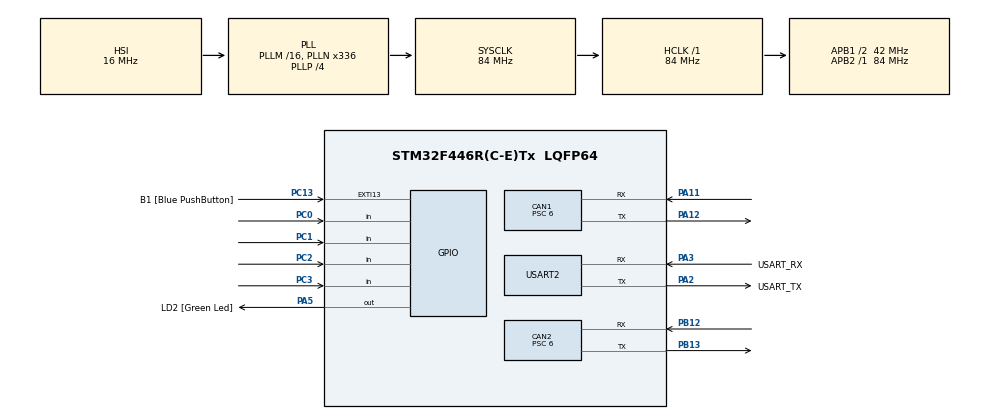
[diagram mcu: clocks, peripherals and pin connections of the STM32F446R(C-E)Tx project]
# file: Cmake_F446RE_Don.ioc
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CAN1.BS1=CAN_BS1_5TQ
CAN1.CalculateBaudRate=1000000
CAN1.CalculateTimeBit=1000
CAN1.CalculateTimeQuantum=142.85714285714286
CAN1.Prescaler=6
CAN2.BS1=CAN_BS1_5TQ
CAN2.CalculateBaudRate=1000000
CAN2.CalculateTimeBit=1000
CAN2.CalculateTimeQuantum=142.85714285714286
CAN2.Prescaler=6
Mcu.Family=STM32F4
Mcu.Name=STM32F446R(C-E)Tx
Mcu.Package=LQFP64
NVIC.CAN1_RX0_IRQn=true\:0\:0\:false\:false\:true\:true\:true\:true
NVIC.CAN2_RX0_IRQn=true\:0\:0\:false\:false\:true\:true\:true\:true
NVIC.PriorityGroup=NVIC_PRIORITYGROUP_0
PA11.Mode=CAN_Activate
PA11.Signal=CAN1_RX
PA12.Mode=CAN_Activate
PA12.Signal=CAN1_TX
PA13.GPIO_Label=TMS
PA13.Mode=Serial_Wire
PA13.Signal=SYS_JTMS-SWDIO
PA14.GPIO_Label=TCK
PA14.Mode=Serial_Wire
PA14.Signal=SYS_JTCK-SWCLK
PA2.GPIO_Label=USART_TX
PA2.Mode=Asynchronous
PA2.Signal=USART2_TX
PA3.GPIO_Label=USART_RX
PA3.Mode=Asynchronous
PA3.Signal=USART2_RX
PA5.GPIO_Label=LD2 [Green Led]
PA5.Signal=GPIO_Output
PB12.Mode=CAN_Activate
PB12.Signal=CAN2_RX
PB13.Mode=CAN_Activate
PB13.Signal=CAN2_TX
PB3.GPIO_Label=SWO
PB3.Signal=SYS_JTDO-SWO
PC0.GPIO_PuPd=GPIO_PULLUP
PC0.Signal=GPIO_Input
PC1.GPIO_PuPd=GPIO_PULLUP
PC1.Signal=GPIO_Input
PC13.GPIO_Label=B1 [Blue PushButton]
PC13.GPIO_ModeDefaultEXTI=GPIO_MODE_IT_FALLING
PC13.Signal=GPXTI13
PC14-OSC32_IN.Mode=LSE-External-Oscillator
PC14-OSC32_IN.Signal=RCC_OSC32_IN
PC15-OSC32_OUT.Mode=LSE-External-Oscillator
PC15-OSC32_OUT.Signal=RCC_OSC32_OUT
PC2.GPIO_PuPd=GPIO_PULLUP
PC2.Signal=GPIO_Input
PC3.GPIO_PuPd=GPIO_PULLUP
PC3.Signal=GPIO_Input
PH0-OSC_IN.Mode=HSE-External-Oscillator
PH0-OSC_IN.Signal=RCC_OSC_IN
PH1-OSC_OUT.Mode=HSE-External-Oscillator
PH1-OSC_OUT.Signal=RCC_OSC_OUT
ProjectManager.HeapSize=0x200
ProjectManager.StackSize=0x400
ProjectManager.TargetToolchain=CMake
RCC.48MHZClocksFreq_Value=84000000
RCC.AHBFreq_Value=84000000
RCC.APB1CLKDivider=RCC_HCLK_DIV2
RCC.APB1Freq_Value=42000000
RCC.APB1TimFreq_Value=84000000
RCC.APB2Freq_Value=84000000
RCC.APB2TimFreq_Value=84000000
RCC.CortexFreq_Value=84000000
RCC.FLatency-AdvancedSettings=FLASH_LATENCY_2
RCC.HCLKFreq_Value=84000000
RCC.HSE_VALUE=8000000
RCC.HSI_VALUE=16000000
RCC.PLLN=336
RCC.PLLP=RCC_PLLP_DIV4
RCC.SYSCLKFreq_VALUE=84000000
RCC.SYSCLKSource=RCC_SYSCLKSOURCE_PLLCLK
RCC.USBFreq_Value=168000000
RCC.VCOOutputFreq_Value=336000000
USART2.VirtualMode=VM_ASYNC
board=NUCLEO-F446RE

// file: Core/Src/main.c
/* USER CODE BEGIN Header */
/**
  ******************************************************************************
  * @file           : main.c
  * @brief          : Main program body
  ******************************************************************************
  * @attention
  *
  * Copyright (c) 2026 STMicroelectronics.
  * All rights reserved.
  *
  * This software is licensed under terms that can be found in the LICENSE file
  * in the root directory of this software component.
  * If no LICENSE file comes with this software, it is provided AS-IS.
  *
  ******************************************************************************
  */
/* USER CODE END Header */
#include "main.h"
#include "stm32f4xx_hal.h"

/* USER CODE BEGIN Includes */
#include <stdbool.h>
#include <stdint.h>
#include <stdio.h>

/* USER CODE END Includes */

CAN_HandleTypeDef hcan1;
CAN_HandleTypeDef hcan2;

UART_HandleTypeDef huart2;

void SystemClock_Config(void);
static void MX_GPIO_Init(void);
static void MX_CAN1_Init(void);
static void MX_CAN2_Init(void);
static void MX_USART2_UART_Init(void);

/* USER CODE BEGIN 0 */
uint8_t CANSend(CAN_HandleTypeDef *hcan, uint32_t id, const uint8_t *data, uint8_t len){
    CAN_TxHeaderTypeDef tx_header;
    uint32_t tx_mailbox;

    tx_header.StdId              = id & 0x7FFU;  /* 11bit標準ID */
    tx_header.ExtId              = 0;
    tx_header.IDE                = CAN_ID_STD;
    tx_header.RTR                = CAN_RTR_DATA;
    tx_header.DLC                = len;
    tx_header.TransmitGlobalTime = DISABLE;

    if (HAL_CAN_AddTxMessage(hcan, &tx_header, data, &tx_mailbox) != HAL_OK) {
        return 1;
    }
    return 0;
}
/* USER CODE END 0 */

int main(void)
{

  /* MCU Configuration--------------------------------------------------------*/

  /* Reset of all peripherals, Initializes the Flash interface and the Systick. */
  HAL_Init();

  /* Configure the system clock */
  SystemClock_Config();

  /* Initialize all configured peripherals */
  MX_GPIO_Init();
  MX_CAN1_Init();
  MX_CAN2_Init();
  MX_USART2_UART_Init();
  /* USER CODE BEGIN 2 */
  HAL_CAN_Start(&hcan1);
  HAL_CAN_Start(&hcan2);

  CAN_FilterTypeDef can_filter = {0};
  can_filter.FilterMode = CAN_FILTERMODE_IDMASK;
  can_filter.FilterScale = CAN_FILTERSCALE_32BIT;
  can_filter.FilterIdHigh = 0x0000;
  can_filter.FilterIdLow = 0x0000;
  can_filter.FilterMaskIdHigh = 0x0000;
  can_filter.FilterMaskIdLow = 0x0000;
  can_filter.FilterFIFOAssignment = CAN_FILTER_FIFO0;
  can_filter.FilterActivation = ENABLE;
  can_filter.SlaveStartFilterBank = 14;

  can_filter.FilterBank = 0;
  if (HAL_CAN_ConfigFilter(&hcan1, &can_filter) != HAL_OK) {
    Error_Handler();
  }

  can_filter.FilterBank = 14;
  if (HAL_CAN_ConfigFilter(&hcan2, &can_filter) != HAL_OK) {
    Error_Handler();
  }

  if (HAL_CAN_ActivateNotification(&hcan1, CAN_IT_RX_FIFO0_MSG_PENDING) != HAL_OK) {
    Error_Handler();
  }
  if (HAL_CAN_ActivateNotification(&hcan2, CAN_IT_RX_FIFO0_MSG_PENDING) != HAL_OK) {
    Error_Handler();
  }

  /* USER CODE END 2 */

  /* Infinite loop */
  /* USER CODE BEGIN WHILE */
  int16_t pwm[4] = {0, 0, 0, 0};
  uint8_t servo[8] = {0, 0, 0, 0, 0, 0, 0, 0};

  int16_t don_output = 15000;
  uint8_t servo_output = 255;
  int16_t fin_don_output = 0;
  uint8_t fin_servo_output = 0;

  int TxInterval = 10; // ms

  int mode = 0;

  uint8_t pre = 0;

  while (1)
  {
    uint8_t now = !HAL_GPIO_ReadPin(GPIOC, GPIO_PIN_13);

    // 立ち上がりエッジのみ検出する
    if(now && !pre){
      mode++;
      if(mode > 5){
        mode = 0;
      }
    }

    switch(mode){
      case 0:
        fin_don_output = 0;
        fin_servo_output = 0;
        break;
      case 1:
       fin_don_output = don_output;
       fin_servo_output = servo_output;
        break;
      case 2:
        fin_don_output = 0;
        fin_servo_output = 0;
        break;
      case 3:
        fin_don_output = -don_output;
        fin_servo_output = servo_output;
        break;
      default:
        fin_don_output = 0;
        fin_servo_output = 0;
        mode = 0;
        break;
    }

    for(int i = 0; i < 4; i++) {
      pwm[i] = fin_don_output;
    }

    for(int i = 0; i < 8; i++) {
      servo[i] = fin_servo_output;
    }

    CANSend(&hcan2, 4, (const uint8_t *)pwm, 8);
    CANSend(&hcan1, 4, (const uint8_t *)pwm, 8);
    printf("\n");

    // //サーボ基板への送信
    // for(int i=0; i<10; i++){
    //   CANSend(&hcan1, 140+i, servo, 8);
    //   CANSend(&hcan2, 141+i, servo, 8);
    // }
    CANSend(&hcan1, 140, servo, 8);
    CANSend(&hcan2, 140, servo, 8);

    printf("mode=%d, don=%d, servo=%d\r\n", mode, fin_don_output, fin_servo_output);

    pre = now;
    HAL_Delay(TxInterval);

    // HAL_Delay(TxInterval);
    /* USER CODE END WHILE */

  }
}

void SystemClock_Config(void)
{
  RCC_OscInitTypeDef RCC_OscInitStruct = {0};
  RCC_ClkInitTypeDef RCC_ClkInitStruct = {0};

  /** Configure the main internal regulator output voltage
  */
  __HAL_RCC_PWR_CLK_ENABLE();
  __HAL_PWR_VOLTAGESCALING_CONFIG(PWR_REGULATOR_VOLTAGE_SCALE3);

  /** Initializes the RCC Oscillators according to the specified parameters
  * in the RCC_OscInitTypeDef structure.
  */
  RCC_OscInitStruct.OscillatorType = RCC_OSCILLATORTYPE_HSI;
  RCC_OscInitStruct.HSIState = RCC_HSI_ON;
  RCC_OscInitStruct.HSICalibrationValue = RCC_HSICALIBRATION_DEFAULT;
  RCC_OscInitStruct.PLL.PLLState = RCC_PLL_ON;
  RCC_OscInitStruct.PLL.PLLSource = RCC_PLLSOURCE_HSI;
  RCC_OscInitStruct.PLL.PLLM = 16;
  RCC_OscInitStruct.PLL.PLLN = 336;
  RCC_OscInitStruct.PLL.PLLP = RCC_PLLP_DIV4;
  RCC_OscInitStruct.PLL.PLLQ = 2;
  RCC_OscInitStruct.PLL.PLLR = 2;
  if (HAL_RCC_OscConfig(&RCC_OscInitStruct) != HAL_OK)
  {
    Error_Handler();
  }

  /** Initializes the CPU, AHB and APB buses clocks
  */
  RCC_ClkInitStruct.ClockType = RCC_CLOCKTYPE_HCLK|RCC_CLOCKTYPE_SYSCLK
                              |RCC_CLOCKTYPE_PCLK1|RCC_CLOCKTYPE_PCLK2;
  RCC_ClkInitStruct.SYSCLKSource = RCC_SYSCLKSOURCE_PLLCLK;
  RCC_ClkInitStruct.AHBCLKDivider = RCC_SYSCLK_DIV1;
  RCC_ClkInitStruct.APB1CLKDivider = RCC_HCLK_DIV2;
  RCC_ClkInitStruct.APB2CLKDivider = RCC_HCLK_DIV1;

  if (HAL_RCC_ClockConfig(&RCC_ClkInitStruct, FLASH_LATENCY_2) != HAL_OK)
  {
    Error_Handler();
  }
}

static void MX_CAN1_Init(void)
{

  hcan1.Instance = CAN1;
  hcan1.Init.Prescaler = 6;
  hcan1.Init.Mode = CAN_MODE_NORMAL;
  hcan1.Init.SyncJumpWidth = CAN_SJW_1TQ;
  hcan1.Init.TimeSeg1 = CAN_BS1_5TQ;
  hcan1.Init.TimeSeg2 = CAN_BS2_1TQ;
  hcan1.Init.TimeTriggeredMode = DISABLE;
  hcan1.Init.AutoBusOff = DISABLE;
  hcan1.Init.AutoWakeUp = DISABLE;
  hcan1.Init.AutoRetransmission = DISABLE;
  hcan1.Init.ReceiveFifoLocked = DISABLE;
  hcan1.Init.TransmitFifoPriority = DISABLE;
  if (HAL_CAN_Init(&hcan1) != HAL_OK)
  {
    Error_Handler();
  }

}

static void MX_CAN2_Init(void)
{

  hcan2.Instance = CAN2;
  hcan2.Init.Prescaler = 6;
  hcan2.Init.Mode = CAN_MODE_NORMAL;
  hcan2.Init.SyncJumpWidth = CAN_SJW_1TQ;
  hcan2.Init.TimeSeg1 = CAN_BS1_5TQ;
  hcan2.Init.TimeSeg2 = CAN_BS2_1TQ;
  hcan2.Init.TimeTriggeredMode = DISABLE;
  hcan2.Init.AutoBusOff = DISABLE;
  hcan2.Init.AutoWakeUp = DISABLE;
  hcan2.Init.AutoRetransmission = DISABLE;
  hcan2.Init.ReceiveFifoLocked = DISABLE;
  hcan2.Init.TransmitFifoPriority = DISABLE;
  if (HAL_CAN_Init(&hcan2) != HAL_OK)
  {
    Error_Handler();
  }

}

static void MX_USART2_UART_Init(void)
{

  huart2.Instance = USART2;
  huart2.Init.BaudRate = 115200;
  huart2.Init.WordLength = UART_WORDLENGTH_8B;
  huart2.Init.StopBits = UART_STOPBITS_1;
  huart2.Init.Parity = UART_PARITY_NONE;
  huart2.Init.Mode = UART_MODE_TX_RX;
  huart2.Init.HwFlowCtl = UART_HWCONTROL_NONE;
  huart2.Init.OverSampling = UART_OVERSAMPLING_16;
  if (HAL_UART_Init(&huart2) != HAL_OK)
  {
    Error_Handler();
  }

}

static void MX_GPIO_Init(void)
{
  GPIO_InitTypeDef GPIO_InitStruct = {0};

  /* GPIO Ports Clock Enable */
  __HAL_RCC_GPIOC_CLK_ENABLE();
  __HAL_RCC_GPIOH_CLK_ENABLE();
  __HAL_RCC_GPIOA_CLK_ENABLE();
  __HAL_RCC_GPIOB_CLK_ENABLE();

  /*Configure GPIO pin Output Level */
  HAL_GPIO_WritePin(LD2_GPIO_Port, LD2_Pin, GPIO_PIN_RESET);

  /*Configure GPIO pin : B1_Pin */
  GPIO_InitStruct.Pin = B1_Pin;
  GPIO_InitStruct.Mode = GPIO_MODE_IT_FALLING;
  GPIO_InitStruct.Pull = GPIO_NOPULL;
  HAL_GPIO_Init(B1_GPIO_Port, &GPIO_InitStruct);

  /*Configure GPIO pins : PC0 PC1 PC2 PC3 */
  GPIO_InitStruct.Pin = GPIO_PIN_0|GPIO_PIN_1|GPIO_PIN_2|GPIO_PIN_3;
  GPIO_InitStruct.Mode = GPIO_MODE_INPUT;
  GPIO_InitStruct.Pull = GPIO_PULLUP;
  HAL_GPIO_Init(GPIOC, &GPIO_InitStruct);

  /*Configure GPIO pin : LD2_Pin */
  GPIO_InitStruct.Pin = LD2_Pin;
  GPIO_InitStruct.Mode = GPIO_MODE_OUTPUT_PP;
  GPIO_InitStruct.Pull = GPIO_NOPULL;
  GPIO_InitStruct.Speed = GPIO_SPEED_FREQ_LOW;
  HAL_GPIO_Init(LD2_GPIO_Port, &GPIO_InitStruct);

}

/* USER CODE BEGIN 4 */

void HAL_CAN_RxFifo0MsgPendingCallback(CAN_HandleTypeDef *hcan)
{
  CAN_RxHeaderTypeDef rx_header = {0};
  uint8_t rx_data[8] = {0};

  if (HAL_CAN_GetRxMessage(hcan, CAN_RX_FIFO0, &rx_header, rx_data) != HAL_OK) {
    return;
  }

  printf("CAN%u RX: ID=0x%03lX DLC=%lu DATA=", (hcan->Instance == CAN2) ? 2U : 1U, rx_header.StdId, rx_header.DLC);
  for (uint32_t index = 0; index < rx_header.DLC; index++) {
    printf("%02X ", rx_data[index]);
  }
  printf("\r\n");
}

int __io_putchar(int ch)
{
    HAL_UART_Transmit(&huart2, (uint8_t *)&ch, 1, HAL_MAX_DELAY);
    return ch;
}

/* USER CODE END 4 */

void Error_Handler(void)
{
  __disable_irq();
  while (1)
  {
  }
}
